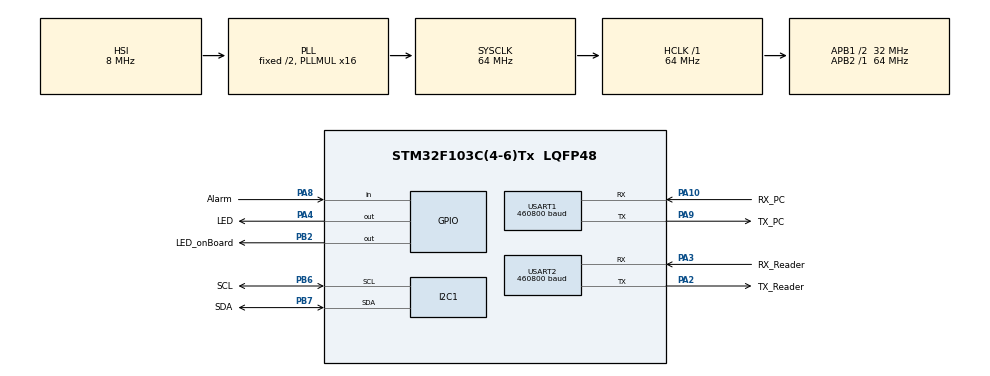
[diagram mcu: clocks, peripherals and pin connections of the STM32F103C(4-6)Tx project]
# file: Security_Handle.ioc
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I2C1.I2C_Mode=I2C_Fast
Mcu.Family=STM32F1
Mcu.Name=STM32F103C(4-6)Tx
Mcu.Package=LQFP48
NVIC.PriorityGroup=NVIC_PRIORITYGROUP_4
NVIC.USART1_IRQn=true\:0\:0\:false\:false\:true\:true\:true\:true
NVIC.USART2_IRQn=true\:0\:0\:false\:false\:true\:true\:true\:true
PA10.GPIO_Label=RX_PC
PA10.Mode=Asynchronous
PA10.Signal=USART1_RX
PA13.Mode=Serial_Wire
PA13.Signal=SYS_JTMS-SWDIO
PA14.Mode=Serial_Wire
PA14.Signal=SYS_JTCK-SWCLK
PA2.GPIO_Label=TX_Reader
PA2.Mode=Asynchronous
PA2.Signal=USART2_TX
PA3.GPIO_Label=RX_Reader
PA3.Mode=Asynchronous
PA3.Signal=USART2_RX
PA4.GPIO_Label=LED
PA4.Signal=GPIO_Output
PA8.GPIO_Label=Alarm
PA8.Signal=GPIO_Input
PA9.GPIO_Label=TX_PC
PA9.Mode=Asynchronous
PA9.Signal=USART1_TX
PB2.GPIO_Label=LED_onBoard
PB2.Signal=GPIO_Output
PB6.GPIO_Label=SCL
PB6.Mode=I2C
PB6.Signal=I2C1_SCL
PB7.GPIO_Label=SDA
PB7.Mode=I2C
PB7.Signal=I2C1_SDA
ProjectManager.HeapSize=0x200
ProjectManager.StackSize=0x400
ProjectManager.TargetToolchain=STM32CubeIDE
RCC.AHBFreq_Value=64000000
RCC.APB1CLKDivider=RCC_HCLK_DIV2
RCC.APB1Freq_Value=32000000
RCC.APB1TimFreq_Value=64000000
RCC.APB2Freq_Value=64000000
RCC.APB2TimFreq_Value=64000000
RCC.HCLKFreq_Value=64000000
RCC.PLLMUL=RCC_PLL_MUL16
RCC.SYSCLKFreq_VALUE=64000000
RCC.SYSCLKSource=RCC_SYSCLKSOURCE_PLLCLK
RCC.USBFreq_Value=64000000
USART1.BaudRate=460800
USART1.VirtualMode=VM_ASYNC
USART2.BaudRate=460800
USART2.VirtualMode=VM_ASYNC
board=custom

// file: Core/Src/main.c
/* USER CODE BEGIN Header */
/**
  ******************************************************************************
  * @file           : main.c
  * @brief          : Main program body
  ******************************************************************************
  * @attention
  *
  * Copyright (c) 2026 STMicroelectronics.
  * All rights reserved.
  *
  * This software is licensed under terms that can be found in the LICENSE file
  * in the root directory of this software component.
  * If no LICENSE file comes with this software, it is provided AS-IS.
  *
  ******************************************************************************
  */
/* USER CODE END Header */
#include "main.h"
#include "i2c.h"
#include "usart.h"
#include "gpio.h"
#include <string.h>

/* USER CODE BEGIN PV */
#define PC_BUF_SIZE    256
#define RFID_BUF_SIZE  512

uint8_t pc_rx;
uint8_t rfid_rx;

uint8_t pc_buf[PC_BUF_SIZE];
uint16_t pc_len = 0;
uint32_t pc_last_rx_tick = 0;

uint8_t rfid_buf[RFID_BUF_SIZE];
uint16_t rfid_len = 0;
uint32_t rfid_last_rx_tick = 0;

const uint8_t rfid_start_cmd[] = {
    0x5A, 0x00, 0x01, 0x02, 0x10, 0x00, 0x05,
    0x00, 0x00, 0x00, 0x01, 0x01, 0xF4, 0x87
};

/* USER CODE END PV */

void SystemClock_Config(void);

/* USER CODE BEGIN 0 */
// Chuyển mảng byte sang chuỗi HEX ASCII
static void bytes_to_hex(const uint8_t *in, uint8_t len, char *out)
{
    const char hex[] = "0123456789ABCDEF";
    for (uint8_t i = 0; i < len; i++)
    {
        out[i * 2]     = hex[(in[i] >> 4) & 0x0F];
        out[i * 2 + 1] = hex[in[i] & 0x0F];
    }
    out[len * 2] = '\0';
}

/* USER CODE END 0 */

int main(void)
{

  /* MCU Configuration--------------------------------------------------------*/

  /* Reset of all peripherals, Initializes the Flash interface and the Systick. */
  HAL_Init();

  /* Configure the system clock */
  SystemClock_Config();

  /* Initialize all configured peripherals */
  MX_GPIO_Init();
  MX_I2C1_Init();
  MX_USART1_UART_Init();
  MX_USART2_UART_Init();
  /* USER CODE BEGIN 2 */
  HAL_UART_Receive_IT(&huart1, &pc_rx, 1);     // PC
  HAL_UART_Receive_IT(&huart2, &rfid_rx, 1);   // RFID
  // Đợi Reader ổn định sau khi cấp nguồn
  HAL_Delay(100);

  // Gửi lệnh START INVENTORY sang Reader
  HAL_UART_Transmit(&huart2,
                    rfid_start_cmd,
                    sizeof(rfid_start_cmd),
                    HAL_MAX_DELAY);

  /* USER CODE END 2 */

  /* Infinite loop */
  /* USER CODE BEGIN WHILE */
  while (1)
  {
	    // ===== PC -> RFID =====
	    if (pc_len > 0 && (HAL_GetTick() - pc_last_rx_tick) > 3)
	    {
	        HAL_UART_Transmit(&huart2, pc_buf, pc_len, HAL_MAX_DELAY);
	        pc_len = 0;
	    }

	    // ===== RFID -> PC =====
	    // ===== RFID -> EPC -> PC =====
	    if (rfid_len > 9 && (HAL_GetTick() - rfid_last_rx_tick) > 3)
	    {
	        /*
	          Layout theo bạn mô tả:
	          Byte 0..6  : header (bỏ)
	          Byte 7..8  : EPC length (00 XX)
	          Byte 9..   : EPC data
	        */

	        uint8_t epc_len = rfid_buf[8];  // ví dụ: 0x0C = 12

	        // kiểm tra an toàn
	        if (epc_len > 0 && (9 + epc_len) <= rfid_len)
	        {
	            uint8_t *epc_ptr = &rfid_buf[9];

	            char epc_str[64];  // đủ cho EPC <= 32 byte
	            bytes_to_hex(epc_ptr, epc_len, epc_str);

	            // Gửi CHỈ EPC về PC (Python)
	            HAL_UART_Transmit(&huart1,
	                              (uint8_t *)epc_str,
	                              strlen(epc_str),
	                              HAL_MAX_DELAY);

	            HAL_UART_Transmit(&huart1,
	                              (uint8_t *)"\r\n",
	                              2,
	                              HAL_MAX_DELAY);
	        }

	        // reset buffer raw RFID
	        rfid_len = 0;
	    }

    /* USER CODE END WHILE */

  }
}

void SystemClock_Config(void)
{
  RCC_OscInitTypeDef RCC_OscInitStruct = {0};
  RCC_ClkInitTypeDef RCC_ClkInitStruct = {0};

  /** Initializes the RCC Oscillators according to the specified parameters
  * in the RCC_OscInitTypeDef structure.
  */
  RCC_OscInitStruct.OscillatorType = RCC_OSCILLATORTYPE_HSI;
  RCC_OscInitStruct.HSIState = RCC_HSI_ON;
  RCC_OscInitStruct.HSICalibrationValue = RCC_HSICALIBRATION_DEFAULT;
  RCC_OscInitStruct.PLL.PLLState = RCC_PLL_ON;
  RCC_OscInitStruct.PLL.PLLSource = RCC_PLLSOURCE_HSI_DIV2;
  RCC_OscInitStruct.PLL.PLLMUL = RCC_PLL_MUL16;
  if (HAL_RCC_OscConfig(&RCC_OscInitStruct) != HAL_OK)
  {
    Error_Handler();
  }

  /** Initializes the CPU, AHB and APB buses clocks
  */
  RCC_ClkInitStruct.ClockType = RCC_CLOCKTYPE_HCLK|RCC_CLOCKTYPE_SYSCLK
                              |RCC_CLOCKTYPE_PCLK1|RCC_CLOCKTYPE_PCLK2;
  RCC_ClkInitStruct.SYSCLKSource = RCC_SYSCLKSOURCE_PLLCLK;
  RCC_ClkInitStruct.AHBCLKDivider = RCC_SYSCLK_DIV1;
  RCC_ClkInitStruct.APB1CLKDivider = RCC_HCLK_DIV2;
  RCC_ClkInitStruct.APB2CLKDivider = RCC_HCLK_DIV1;

  if (HAL_RCC_ClockConfig(&RCC_ClkInitStruct, FLASH_LATENCY_2) != HAL_OK)
  {
    Error_Handler();
  }
}

/* USER CODE BEGIN 4 */
void HAL_UART_RxCpltCallback(UART_HandleTypeDef *huart)
{
    uint32_t now = HAL_GetTick();

    // ===== PC -> STM32 =====
    if (huart->Instance == USART1)
    {
        if (pc_len < PC_BUF_SIZE)
        {
            pc_buf[pc_len++] = pc_rx;
        }
        pc_last_rx_tick = now;

        HAL_UART_Receive_IT(&huart1, &pc_rx, 1);
    }

    // ===== RFID -> STM32 =====
    else if (huart->Instance == USART2)
    {
        if (rfid_len < RFID_BUF_SIZE)
        {
            rfid_buf[rfid_len++] = rfid_rx;
        }
        rfid_last_rx_tick = now;

        HAL_UART_Receive_IT(&huart2, &rfid_rx, 1);
    }
}

/* USER CODE END 4 */

void Error_Handler(void)
{
  __disable_irq();
  while (1)
  {
  }
}
